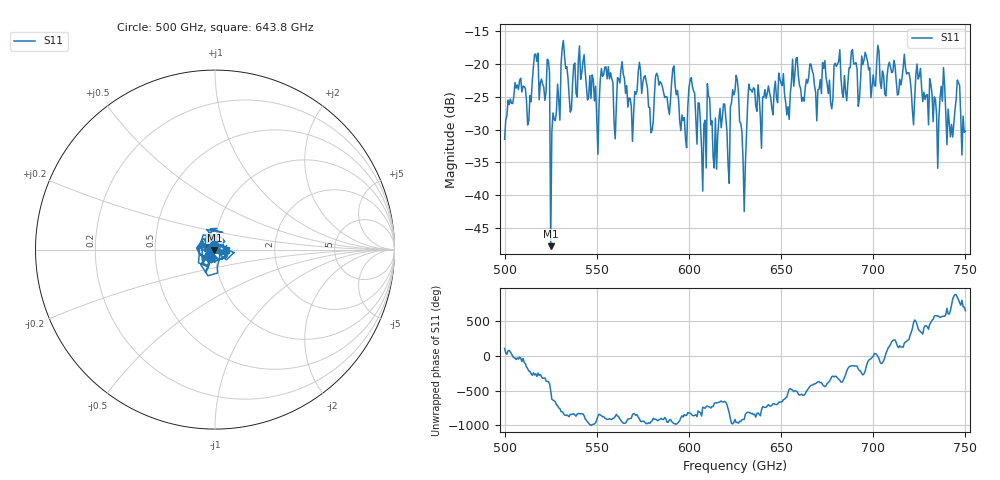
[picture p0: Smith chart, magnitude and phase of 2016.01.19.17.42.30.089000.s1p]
!Created with skrf (http://scikit-rf.org).
# GHz S RI R 50.0
!freq ReS11 ImS11
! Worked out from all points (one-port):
!   401 points, 500 GHz to 750 GHz, reference 50 ohm
!   lowest |S11| = -47.8 dB at 525 GHz (marker M1), VSWR 1.01, Z = 49.7 - j0.261 ohm
!   |S11| at or under -10 dB: start of sweep to end of sweep
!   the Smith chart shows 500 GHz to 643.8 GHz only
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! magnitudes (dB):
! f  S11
! 500 GHz  -31.5
! 506.9 GHz  -23.2
! 513.1 GHz  -28.7
! 516.9 GHz  -18.5
! 523.1 GHz  -19.3
! 525 GHz  -47.8
! 526.2 GHz  -27.5
! 531.2 GHz  -17.6
! 550 GHz  -28.3
! 553.8 GHz  -21.6
! 562.5 GHz  -22.9
! 579.4 GHz  -30.5
! 583.1 GHz  -21.9
! 593.8 GHz  -24.0
! 597.5 GHz  -28.2
! 601.9 GHz  -23.4
! 608.1 GHz  -29.2
! 611.2 GHz  -25.2
! 614.4 GHz  -28.2
! 618.1 GHz  -28.2
! 621.9 GHz  -38.2
! 625 GHz  -24.1
! 630 GHz  -42.5
! 633.8 GHz  -23.9
! 656.2 GHz  -19.3
! 687.5 GHz  -20.6
! 718.8 GHz  -21.3
! 750 GHz  -30.2
